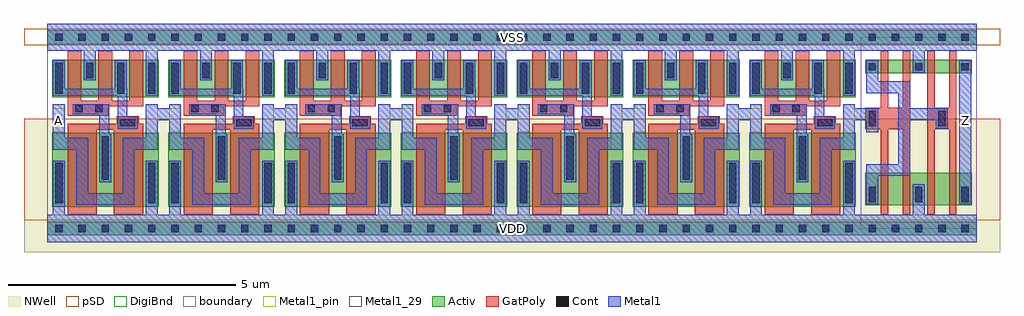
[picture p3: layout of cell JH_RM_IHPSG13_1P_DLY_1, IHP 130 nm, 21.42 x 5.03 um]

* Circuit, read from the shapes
.subckt JH_RM_IHPSG13_1P_DLY_1 A VDD VSS Z
XM1 VSS n1 n2 VSS sg13_lv_nmos w=0.83u l=0.3u m=3
XM2 VSS n3 n4 VSS sg13_lv_nmos w=0.83u l=0.3u m=3
XM3 VSS n5 n6 VSS sg13_lv_nmos w=0.83u l=0.3u m=3
XM4 VSS n7 n8 VSS sg13_lv_nmos w=0.83u l=0.3u m=3
XM5 VSS n9 n10 VSS sg13_lv_nmos w=0.83u l=0.3u m=3
XM6 VSS n11 n12 VSS sg13_lv_nmos w=0.83u l=0.3u m=3
XM7 VSS n13 n14 VSS sg13_lv_nmos w=0.83u l=0.3u m=3
XM8 n15 A n16 VSS sg13_lv_nmos w=0.3u l=0.16u
XM9 VSS A n15 VSS sg13_lv_nmos w=0.3u l=0.16u
XM10 n17 n16 VSS VSS sg13_lv_nmos w=0.3u l=0.16u
XM11 Z n16 n17 VSS sg13_lv_nmos w=0.3u l=0.16u
XM12 n1 n2 VDD VDD sg13_lv_pmos w=1.62u l=0.64u m=2
XM13 n3 n4 VDD VDD sg13_lv_pmos w=1.62u l=0.64u m=2
XM14 n5 n6 VDD VDD sg13_lv_pmos w=1.62u l=0.64u m=2
XM15 n7 n8 VDD VDD sg13_lv_pmos w=1.62u l=0.64u m=2
XM16 n9 n10 VDD VDD sg13_lv_pmos w=1.62u l=0.64u m=2
XM17 n11 n12 VDD VDD sg13_lv_pmos w=1.62u l=0.64u m=2
XM18 n13 n14 VDD VDD sg13_lv_pmos w=1.62u l=0.64u m=2
XM19 n18 A n16 VDD sg13_lv_pmos w=0.72u l=0.16u
XM20 VDD A n18 VDD sg13_lv_pmos w=0.72u l=0.16u
XM21 n19 n16 VDD VDD sg13_lv_pmos w=0.72u l=0.16u
XM22 Z n16 n19 VDD sg13_lv_pmos w=0.72u l=0.16u
.ends

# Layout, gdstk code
from math import pi, radians
import gdstk
lib = gdstk.Library(unit=1e-6, precision=1e-09)
def R(c, l, rs):  # rectangles x0, y0, x1, y1
    for r in rs: c.add(gdstk.rectangle(r[:2], r[2:], *l))
def A(c, l, x, y, w, h, nx, ny, dx, dy):  # array of equal rectangles
    R(c, l, [(x+i*dx, y+j*dy, x+i*dx+w, y+j*dy+h) for i in range(nx) for j in range(ny)])
def P(c, l, *ps):  # polygons
    for p in ps: c.add(gdstk.Polygon(p, *l))
Activ = (1, 0)
GatPoly = (5, 0)
Cont = (6, 0)
Metal1 = (8, 0)
Metal1_pin = (8, 2)
Metal1_29 = (8, 29)
pSD = (14, 0)
DigiBnd = (16, 0)
NWell = (31, 0)
boundary = (189, 4)

jh_rsc_ihpsg13_cdlyx1 = lib.new_cell('JH_RSC_IHPSG13_CDLYX1')
R(jh_rsc_ihpsg13_cdlyx1, Activ, [(0,-0.15,2.55,0.15), (0.105,0.49,2.445,0.79), (0.105,2.97,2.445,3.69), (0,4.05,2.55,4.35)])
P(jh_rsc_ihpsg13_cdlyx1, GatPoly, [(1.465,0.3),(1.465,3.9),(1.625,3.9),(1.625,2.025),(1.945,2.025),(1.945,3.9),(2.105,3.9),(2.105,0.3),(1.945,0.3),(1.945,1.545),(1.625,1.545),(1.625,0.3)],
  [(0.445,0.3),(0.445,1.545),(0.105,1.545),(0.105,2.025),(0.445,2.025),(0.445,3.9),(0.605,3.9),(0.605,2.025),(0.925,2.025),(0.925,3.9),(1.085,3.9),(1.085,0.3),(0.925,0.3),(0.925,1.545),(0.605,1.545),(0.605,0.3)])
A(jh_rsc_ihpsg13_cdlyx1, Cont, 0.175, -0.08, 0.16, 0.16, 5, 2, 0.51, 4.2)
A(jh_rsc_ihpsg13_cdlyx1, Cont, 0.175, 0.57, 0.16, 0.16, 3, 1, 1.02, 0)
A(jh_rsc_ihpsg13_cdlyx1, Cont, 0.175, 3.28, 0.16, 0.34, 3, 1, 1.02, 0)
R(jh_rsc_ihpsg13_cdlyx1, Cont, [(0.175,1.615,0.335,1.955), (1.705,1.615,1.865,1.955)])
R(jh_rsc_ihpsg13_cdlyx1, Metal1, [(0,-0.3,2.55,0.3), (1.145,0.3,1.405,0.78), (2.165,0.51,2.425,3.67), (0.125,1.56,0.385,2.09)])
P(jh_rsc_ihpsg13_cdlyx1, Metal1, [(0.125,0.51),(0.125,1.23),(0.825,1.23),(0.825,2.79),(0.125,2.79),(0.125,3.67),(0.385,3.67),(0.385,3.04),(1.085,3.04),(1.085,1.82),(1.655,1.82),(1.655,2.005),(1.915,2.005),(1.915,1.56),(1.085,1.56),(1.085,0.97),(0.385,0.97),(0.385,0.51)],
  [(1.145,3.23),(1.145,3.9),(0,3.9),(0,4.5),(2.55,4.5),(2.55,3.9),(1.405,3.9),(1.405,3.23)])
R(jh_rsc_ihpsg13_cdlyx1, Metal1_pin, [(0,-0.3,2.55,0.3), (2.165,0.51,2.425,3.67), (0.125,1.56,0.385,2.09), (0,3.9,2.55,4.5)])
R(jh_rsc_ihpsg13_cdlyx1, pSD, [(-0.51,-0.18,3.06,0.18), (-0.51,1.785,3.06,4.02)])
R(jh_rsc_ihpsg13_cdlyx1, DigiBnd, [(0,-0.3,2.55,4.5)])
R(jh_rsc_ihpsg13_cdlyx1, NWell, [(-0.51,1.785,3.06,4.725)])
R(jh_rsc_ihpsg13_cdlyx1, boundary, [(0,0,2.55,4.2)])
jh_rsc_ihpsg13_cdlyx1.add(gdstk.Label('VDD!', (0.51,4.2), layer=8, texttype=25))
jh_rsc_ihpsg13_cdlyx1.add(gdstk.Label('A', (0.265,1.785), layer=8, texttype=25))
jh_rsc_ihpsg13_cdlyx1.add(gdstk.Label('VSS!', (0.465,0), layer=8, texttype=25))
jh_rsc_ihpsg13_cdlyx1.add(gdstk.Label('Z', (2.3,1.755), layer=8, texttype=25))

jh_lvsres_db_0x04007e9a = lib.new_cell('JH_lvsres_db_0x04007e9a')
R(jh_lvsres_db_0x04007e9a, Metal1, [(-0.5,0,0.5,0.26)])
R(jh_lvsres_db_0x04007e9a, Metal1_pin, [(-0.5,0,-0.3,0.26), (0.3,0,0.5,0.26)])
R(jh_lvsres_db_0x04007e9a, Metal1_29, [(-0.3,0,0.3,0.26)])
jh_lvsres_db_0x04007e9a.add(gdstk.Label('MINUS', (0.4,0.13), layer=63, texttype=0))
jh_lvsres_db_0x04007e9a.add(gdstk.Label('PLUS', (-0.4,0.13), layer=63, texttype=0))

jh_rsc_ihpsg13_cdlyx1_du = lib.new_cell('JH_RSC_IHPSG13_CDLYX1_DUMMY')
R(jh_rsc_ihpsg13_cdlyx1_du, Activ, [(0,-0.15,2.55,0.15), (0.105,0.49,2.445,1.32), (0.105,2.1,2.445,3.72), (0,4.05,2.55,4.35)])
P(jh_rsc_ihpsg13_cdlyx1_du, GatPoly, [(0.445,0.3),(0.445,1.72),(1.34,1.72),(1.34,1.52),(2.105,1.52),(2.105,0.3),(1.805,0.3),(1.805,1.39),(1.425,1.39),(1.425,0.3),(1.125,0.3),(1.125,1.39),(0.745,1.39),(0.745,0.3)],
  [(1.525,1.73),(1.525,1.9),(0.445,1.9),(0.445,3.9),(1.085,3.9),(1.085,2.03),(1.465,2.03),(1.465,3.9),(2.105,3.9),(2.105,1.9),(2.005,1.9),(2.005,1.73)])
A(jh_rsc_ihpsg13_cdlyx1_du, Cont, 0.175, -0.08, 0.16, 0.16, 5, 2, 0.51, 4.2)
R(jh_rsc_ihpsg13_cdlyx1_du, Cont, [(0.175,0.56,0.335,1.24), (0.855,0.56,1.015,0.9), (1.535,0.56,1.695,1.24), (2.215,0.56,2.375,1.24), (0.615,1.49,0.775,1.65), (1.055,1.49,1.215,1.65), (1.595,1.8,1.935,1.96), (1.195,2.175,1.355,3.13), (0.175,2.76,0.335,3.65), (2.215,2.76,2.375,3.65)])
R(jh_rsc_ihpsg13_cdlyx1_du, Metal1, [(0.125,1.47,0.385,2.465), (2.165,1.47,2.425,2.465), (0.125,2.205,0.895,2.465), (0.635,2.205,0.895,3.68), (1.655,2.205,1.915,3.68), (1.655,2.205,2.425,2.465), (0.635,3.42,1.915,3.68)])
P(jh_rsc_ihpsg13_cdlyx1_du, Metal1, [(0.125,0.51),(0.125,1.29),(1.545,1.29),(1.545,2.01),(1.985,2.01),(1.985,1.75),(1.755,1.75),(1.755,1.13),(1.745,1.13),(1.745,0.51),(1.485,0.51),(1.485,1.13),(0.385,1.13),(0.385,0.51)],
  [(0.565,1.47),(0.565,1.69),(1.145,1.69),(1.145,3.18),(1.405,3.18),(1.405,2.125),(1.365,2.125),(1.365,1.47)],
  [(0.125,2.71),(0.125,3.9),(0,3.9),(0,4.5),(2.55,4.5),(2.55,3.9),(2.425,3.9),(2.425,2.71),(2.165,2.71),(2.165,3.9),(0.385,3.9),(0.385,2.71)],
  [(0,-0.3),(0,0.3),(0.805,0.3),(0.805,0.95),(1.065,0.95),(1.065,0.3),(2.165,0.3),(2.165,1.29),(2.425,1.29),(2.425,0.3),(2.55,0.3),(2.55,-0.3)])
R(jh_rsc_ihpsg13_cdlyx1_du, Metal1_pin, [(0,-0.3,2.55,0.3), (2.165,1.47,2.425,2.465), (0.125,1.56,0.385,2.09), (0,3.9,2.55,4.5)])
R(jh_rsc_ihpsg13_cdlyx1_du, pSD, [(-0.51,-0.18,3.06,0.18), (-0.51,1.785,3.06,4.02)])
R(jh_rsc_ihpsg13_cdlyx1_du, DigiBnd, [(0,-0.3,2.55,4.5)])
R(jh_rsc_ihpsg13_cdlyx1_du, NWell, [(-0.51,1.785,3.06,4.725)])
jh_rsc_ihpsg13_cdlyx1_du.add(gdstk.Reference(jh_lvsres_db_0x04007e9a, (1.305,3.68), rotation=pi))
jh_rsc_ihpsg13_cdlyx1_du.add(gdstk.Label('VDD!', (0.84,4.2), layer=8, texttype=2))
jh_rsc_ihpsg13_cdlyx1_du.add(gdstk.Label('VSS!', (1.155,0.005), layer=8, texttype=2))
jh_rsc_ihpsg13_cdlyx1_du.add(gdstk.Label('A', (0.265,1.785), layer=8, texttype=25))
jh_rsc_ihpsg13_cdlyx1_du.add(gdstk.Label('Z', (2.3,1.755), layer=8, texttype=25))

jh_rm_ihpsg13_1p_dly_1 = lib.new_cell('JH_RM_IHPSG13_1P_DLY_1')
A(jh_rm_ihpsg13_1p_dly_1, Metal1, 2.425, 2.38, 0.25, 0.26, 7, 1, 2.55, 0)
R(jh_rm_ihpsg13_1p_dly_1, Metal1_pin, [(0,-0.3,20.4,0.3), (0.125,2.11,0.385,2.64), (20.015,2.11,20.275,2.64), (0,3.9,20.4,4.5)])
jh_rm_ihpsg13_1p_dly_1.add(gdstk.Reference(jh_rsc_ihpsg13_cdlyx1, (17.85,4.2), x_reflection=True))
jh_rm_ihpsg13_1p_dly_1.add(gdstk.Reference(jh_rsc_ihpsg13_cdlyx1_du, (0,4.2), x_reflection=True))
jh_rm_ihpsg13_1p_dly_1.add(gdstk.Reference(jh_rsc_ihpsg13_cdlyx1_du, (2.55,4.2), x_reflection=True))
jh_rm_ihpsg13_1p_dly_1.add(gdstk.Reference(jh_rsc_ihpsg13_cdlyx1_du, (5.1,4.2), x_reflection=True))
jh_rm_ihpsg13_1p_dly_1.add(gdstk.Reference(jh_rsc_ihpsg13_cdlyx1_du, (7.65,4.2), x_reflection=True))
jh_rm_ihpsg13_1p_dly_1.add(gdstk.Reference(jh_rsc_ihpsg13_cdlyx1_du, (10.2,4.2), x_reflection=True))
jh_rm_ihpsg13_1p_dly_1.add(gdstk.Reference(jh_rsc_ihpsg13_cdlyx1_du, (12.75,4.2), x_reflection=True))
jh_rm_ihpsg13_1p_dly_1.add(gdstk.Reference(jh_rsc_ihpsg13_cdlyx1_du, (15.3,4.2), x_reflection=True))
jh_rm_ihpsg13_1p_dly_1.add(gdstk.Label('VDD', (10.2,0), layer=8, texttype=25))
jh_rm_ihpsg13_1p_dly_1.add(gdstk.Label('VSS', (10.2,4.2), layer=8, texttype=25))
jh_rm_ihpsg13_1p_dly_1.add(gdstk.Label('A', (0.255,2.375), layer=8, texttype=25))
jh_rm_ihpsg13_1p_dly_1.add(gdstk.Label('Z', (20.145,2.375), layer=8, texttype=25))

lib.write_gds('JH_RM_IHPSG13_1P_DLY_1.gds')
